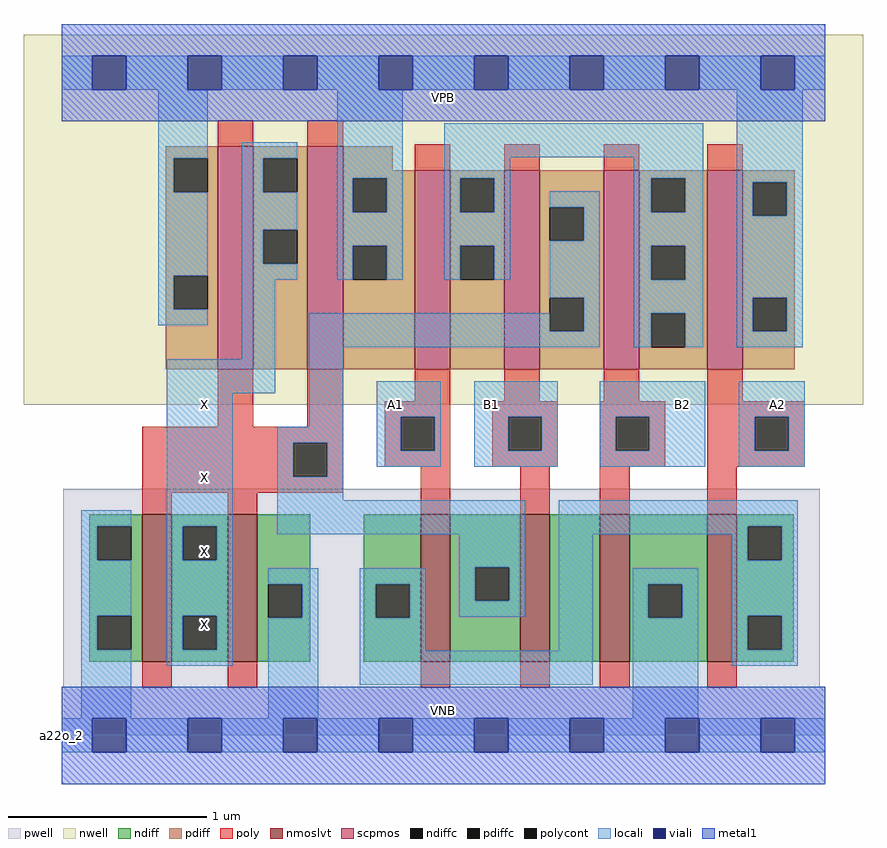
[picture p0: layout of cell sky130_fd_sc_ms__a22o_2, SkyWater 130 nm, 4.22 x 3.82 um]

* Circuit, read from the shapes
.subckt sky130_fd_sc_ms__a22o_2 A1 A2 B1 B2 VGND VNB VPB VPWR X
XM1 X n1 VGND VNB sky130_fd_pr__nfet_01v8_lvt w=0.74 l=0.15 m=2
XM2 n1 A1 n2 VNB sky130_fd_pr__nfet_01v8_lvt w=0.74 l=0.15
XM3 n3 B1 n1 VNB sky130_fd_pr__nfet_01v8_lvt w=0.74 l=0.15
XM4 VGND B2 n3 VNB sky130_fd_pr__nfet_01v8_lvt w=0.74 l=0.15
XM5 n2 A2 VGND VNB sky130_fd_pr__nfet_01v8_lvt w=0.74 l=0.15
XM6 X n1 VPWR VPB sky130_fd_pr__pfet_01v8 w=1.12 l=0.18 m=2
XM7 n4 A1 VPWR VPB sky130_fd_pr__pfet_01v8 w=1 l=0.18
XM8 n1 B1 n4 VPB sky130_fd_pr__pfet_01v8 w=1 l=0.18
XM9 n4 B2 n1 VPB sky130_fd_pr__pfet_01v8 w=1 l=0.18
XM10 VPWR A2 n4 VPB sky130_fd_pr__pfet_01v8 w=1 l=0.18
.ends

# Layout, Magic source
magic
tech sky130A
magscale 1 2
<< nwell >>
rect -38 332 806 704
<< pwell >>
rect 2 49 762 248
rect 0 0 768 49
<< scpmos >>
rect 157 368 193 592
rect 247 368 283 592
rect 355 368 391 568
rect 445 368 481 568
rect 545 368 581 568
rect 649 368 685 568
<< nmoslvt >>
rect 81 74 111 222
rect 167 74 197 222
rect 361 74 391 222
rect 461 74 491 222
rect 541 74 571 222
rect 649 74 679 222
<< ndiff >>
rect 28 210 81 222
rect 28 176 36 210
rect 70 176 81 210
rect 28 120 81 176
rect 28 86 36 120
rect 70 86 81 120
rect 28 74 81 86
rect 111 210 167 222
rect 111 176 122 210
rect 156 176 167 210
rect 111 120 167 176
rect 111 86 122 120
rect 156 86 167 120
rect 111 74 167 86
rect 197 152 250 222
rect 197 118 208 152
rect 242 118 250 152
rect 197 74 250 118
rect 304 152 361 222
rect 304 118 316 152
rect 350 118 361 152
rect 304 74 361 118
rect 391 169 461 222
rect 391 135 416 169
rect 450 135 461 169
rect 391 74 461 135
rect 491 74 541 222
rect 571 152 649 222
rect 571 118 590 152
rect 624 118 649 152
rect 571 74 649 118
rect 679 210 736 222
rect 679 176 690 210
rect 724 176 736 210
rect 679 120 736 176
rect 679 86 690 120
rect 724 86 736 120
rect 679 74 736 86
<< pdiff >>
rect 105 580 157 592
rect 105 546 113 580
rect 147 546 157 580
rect 105 462 157 546
rect 105 428 113 462
rect 147 428 157 462
rect 105 368 157 428
rect 193 580 247 592
rect 193 546 203 580
rect 237 546 247 580
rect 193 508 247 546
rect 193 474 203 508
rect 237 474 247 508
rect 193 368 247 474
rect 283 568 333 592
rect 283 560 355 568
rect 283 526 293 560
rect 327 526 355 560
rect 283 492 355 526
rect 283 458 293 492
rect 327 458 355 492
rect 283 368 355 458
rect 391 560 445 568
rect 391 526 401 560
rect 435 526 445 560
rect 391 492 445 526
rect 391 458 401 492
rect 435 458 445 492
rect 391 368 445 458
rect 481 531 545 568
rect 481 497 491 531
rect 525 497 545 531
rect 481 440 545 497
rect 481 406 491 440
rect 525 406 545 440
rect 481 368 545 406
rect 581 560 649 568
rect 581 526 593 560
rect 627 526 649 560
rect 581 492 649 526
rect 581 458 593 492
rect 627 458 649 492
rect 581 424 649 458
rect 581 390 593 424
rect 627 390 649 424
rect 581 368 649 390
rect 685 556 737 568
rect 685 522 695 556
rect 729 522 737 556
rect 685 440 737 522
rect 685 406 695 440
rect 729 406 737 440
rect 685 368 737 406
<< ndiffc >>
rect 36 176 70 210
rect 36 86 70 120
rect 122 176 156 210
rect 122 86 156 120
rect 208 118 242 152
rect 316 118 350 152
rect 416 135 450 169
rect 590 118 624 152
rect 690 176 724 210
rect 690 86 724 120
<< pdiffc >>
rect 113 546 147 580
rect 113 428 147 462
rect 203 546 237 580
rect 203 474 237 508
rect 293 526 327 560
rect 293 458 327 492
rect 401 526 435 560
rect 401 458 435 492
rect 491 497 525 531
rect 491 406 525 440
rect 593 526 627 560
rect 593 458 627 492
rect 593 390 627 424
rect 695 522 729 556
rect 695 406 729 440
<< poly >>
rect 157 592 193 618
rect 247 592 283 618
rect 355 568 391 594
rect 445 568 481 594
rect 545 568 581 594
rect 649 568 685 594
rect 157 310 193 368
rect 247 310 283 368
rect 355 336 391 368
rect 445 336 481 368
rect 545 336 581 368
rect 649 336 685 368
rect 81 294 283 310
rect 81 260 233 294
rect 267 260 283 294
rect 325 320 391 336
rect 325 286 341 320
rect 375 286 391 320
rect 325 270 391 286
rect 433 320 499 336
rect 433 286 449 320
rect 483 286 499 320
rect 433 270 499 286
rect 541 320 607 336
rect 541 286 557 320
rect 591 286 607 320
rect 541 270 607 286
rect 649 320 747 336
rect 649 286 697 320
rect 731 286 747 320
rect 649 270 747 286
rect 81 244 283 260
rect 81 222 111 244
rect 167 222 197 244
rect 361 222 391 270
rect 461 222 491 270
rect 541 222 571 270
rect 649 222 679 270
rect 81 48 111 74
rect 167 48 197 74
rect 361 48 391 74
rect 461 48 491 74
rect 541 48 571 74
rect 649 48 679 74
<< polycont >>
rect 233 260 267 294
rect 341 286 375 320
rect 449 286 483 320
rect 557 286 591 320
rect 697 286 731 320
<< locali >>
rect 0 649 31 683
rect 65 649 127 683
rect 161 649 223 683
rect 257 649 319 683
rect 353 649 415 683
rect 449 649 511 683
rect 545 649 607 683
rect 641 649 703 683
rect 737 649 768 683
rect 97 580 147 649
rect 97 546 113 580
rect 97 462 147 546
rect 97 428 113 462
rect 97 412 147 428
rect 181 580 237 596
rect 181 546 203 580
rect 181 508 237 546
rect 181 474 203 508
rect 181 458 237 474
rect 277 560 343 649
rect 277 526 293 560
rect 327 526 343 560
rect 277 492 343 526
rect 277 458 293 492
rect 327 458 343 492
rect 385 581 645 615
rect 385 560 451 581
rect 385 526 401 560
rect 435 526 451 560
rect 575 560 645 581
rect 385 492 451 526
rect 385 458 401 492
rect 435 458 451 492
rect 491 531 541 547
rect 525 497 541 531
rect 181 378 215 458
rect 491 440 541 497
rect 106 344 215 378
rect 249 406 491 424
rect 525 406 541 440
rect 249 390 541 406
rect 575 526 593 560
rect 627 526 645 560
rect 575 492 645 526
rect 575 458 593 492
rect 627 458 645 492
rect 575 424 645 458
rect 575 390 593 424
rect 627 390 645 424
rect 679 556 745 649
rect 679 522 695 556
rect 729 522 745 556
rect 679 440 745 522
rect 679 406 695 440
rect 729 406 745 440
rect 679 390 745 406
rect 20 210 70 226
rect 20 176 36 210
rect 20 120 70 176
rect 20 86 36 120
rect 20 17 70 86
rect 106 210 172 344
rect 249 310 283 390
rect 106 176 122 210
rect 156 176 172 210
rect 217 294 283 310
rect 217 260 233 294
rect 267 260 283 294
rect 317 320 381 356
rect 317 286 341 320
rect 375 286 381 320
rect 317 270 381 286
rect 415 320 499 356
rect 415 286 449 320
rect 483 286 499 320
rect 415 270 499 286
rect 541 320 647 356
rect 541 286 557 320
rect 591 286 647 320
rect 541 270 647 286
rect 681 320 747 356
rect 681 286 697 320
rect 731 286 747 320
rect 681 270 747 286
rect 217 236 283 260
rect 217 202 466 236
rect 106 120 172 176
rect 400 169 466 202
rect 106 86 122 120
rect 156 86 172 120
rect 106 70 172 86
rect 208 152 258 168
rect 242 118 258 152
rect 208 17 258 118
rect 300 152 366 168
rect 300 118 316 152
rect 350 118 366 152
rect 400 135 416 169
rect 450 135 466 169
rect 400 119 466 135
rect 500 210 740 236
rect 500 202 690 210
rect 300 85 366 118
rect 500 85 534 202
rect 674 176 690 202
rect 724 176 740 210
rect 300 51 534 85
rect 574 152 640 168
rect 574 118 590 152
rect 624 118 640 152
rect 574 17 640 118
rect 674 120 740 176
rect 674 86 690 120
rect 724 86 740 120
rect 674 70 740 86
rect 0 -17 31 17
rect 65 -17 127 17
rect 161 -17 223 17
rect 257 -17 319 17
rect 353 -17 415 17
rect 449 -17 511 17
rect 545 -17 607 17
rect 641 -17 703 17
rect 737 -17 768 17
<< viali >>
rect 31 649 65 683
rect 127 649 161 683
rect 223 649 257 683
rect 319 649 353 683
rect 415 649 449 683
rect 511 649 545 683
rect 607 649 641 683
rect 703 649 737 683
rect 31 -17 65 17
rect 127 -17 161 17
rect 223 -17 257 17
rect 319 -17 353 17
rect 415 -17 449 17
rect 511 -17 545 17
rect 607 -17 641 17
rect 703 -17 737 17
<< metal1 >>
rect 0 683 768 715
rect 0 649 31 683
rect 65 649 127 683
rect 161 649 223 683
rect 257 649 319 683
rect 353 649 415 683
rect 449 649 511 683
rect 545 649 607 683
rect 641 649 703 683
rect 737 649 768 683
rect 0 617 768 649
rect 0 17 768 49
rect 0 -17 31 17
rect 65 -17 127 17
rect 161 -17 223 17
rect 257 -17 319 17
rect 353 -17 415 17
rect 449 -17 511 17
rect 545 -17 607 17
rect 641 -17 703 17
rect 737 -17 768 17
rect 0 -49 768 -17
<< labels >>
flabel pwell s 0 0 768 49 0 FreeSans 200 0 0 0 VNB
port 6 nsew ground bidirectional
flabel nwell s 0 617 768 666 0 FreeSans 200 0 0 0 VPB
port 7 nsew power bidirectional
rlabel comment s 0 0 0 0 4 a22o_2
flabel metal1 s 0 617 768 666 0 FreeSans 340 0 0 0 VPWR
port 8 nsew power bidirectional
flabel metal1 s 0 0 768 49 0 FreeSans 340 0 0 0 VGND
port 5 nsew ground bidirectional
flabel locali s 127 94 161 128 0 FreeSans 340 0 0 0 X
port 9 nsew signal output
flabel locali s 127 168 161 202 0 FreeSans 340 0 0 0 X
port 9 nsew signal output
flabel locali s 127 242 161 276 0 FreeSans 340 0 0 0 X
port 9 nsew signal output
flabel locali s 127 316 161 350 0 FreeSans 340 0 0 0 X
port 9 nsew signal output
flabel locali s 607 316 641 350 0 FreeSans 340 0 0 0 B2
port 4 nsew signal input
flabel locali s 415 316 449 350 0 FreeSans 340 0 0 0 B1
port 3 nsew signal input
flabel locali s 703 316 737 350 0 FreeSans 340 0 0 0 A2
port 2 nsew signal input
flabel locali s 319 316 353 350 0 FreeSans 340 0 0 0 A1
port 1 nsew signal input
<< properties >>
string LEFsite unit
string LEFclass CORE
string FIXED_BBOX 0 0 768 666
string GDS_FILE $PDKPATH/libs.ref/sky130_fd_sc_ms/gds/sky130_fd_sc_ms.gds
string LEFsymmetry X Y
string GDS_END 1150762
string GDS_START 1143726
<< end >>
